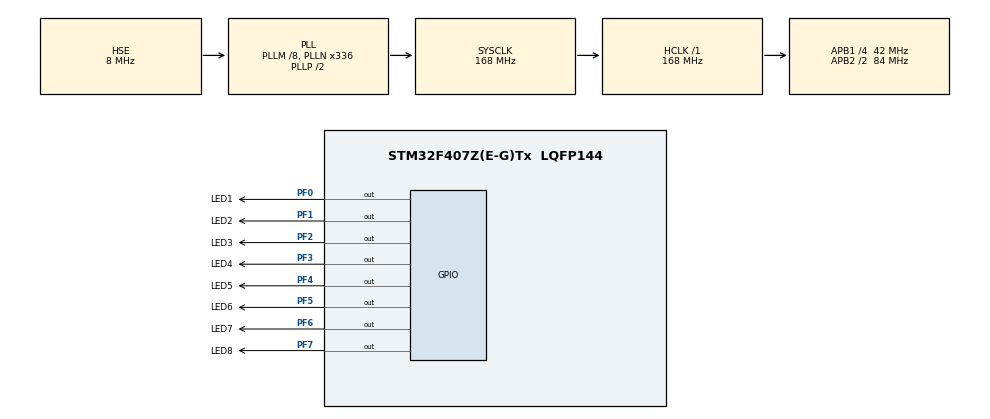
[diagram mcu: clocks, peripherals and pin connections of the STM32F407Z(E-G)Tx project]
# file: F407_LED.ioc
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Mcu.Family=STM32F4
Mcu.Name=STM32F407Z(E-G)Tx
Mcu.Package=LQFP144
NVIC.PriorityGroup=NVIC_PRIORITYGROUP_4
PA13.Mode=Serial_Wire
PA13.Signal=SYS_JTMS-SWDIO
PA14.Mode=Serial_Wire
PA14.Signal=SYS_JTCK-SWCLK
PF0.GPIO_Label=LED1
PF0.GPIO_ModeDefaultOutputPP=GPIO_MODE_OUTPUT_PP
PF0.GPIO_PuPd=GPIO_NOPULL
PF0.GPIO_Speed=GPIO_SPEED_FREQ_LOW
PF0.PinState=GPIO_PIN_SET
PF0.Signal=GPIO_Output
PF1.GPIO_Label=LED2
PF1.GPIO_ModeDefaultOutputPP=GPIO_MODE_OUTPUT_PP
PF1.GPIO_PuPd=GPIO_NOPULL
PF1.GPIO_Speed=GPIO_SPEED_FREQ_LOW
PF1.PinState=GPIO_PIN_SET
PF1.Signal=GPIO_Output
PF2.GPIO_Label=LED3
PF2.GPIO_ModeDefaultOutputPP=GPIO_MODE_OUTPUT_PP
PF2.GPIO_PuPd=GPIO_NOPULL
PF2.GPIO_Speed=GPIO_SPEED_FREQ_LOW
PF2.PinState=GPIO_PIN_SET
PF2.Signal=GPIO_Output
PF3.GPIO_Label=LED4
PF3.GPIO_ModeDefaultOutputPP=GPIO_MODE_OUTPUT_PP
PF3.GPIO_PuPd=GPIO_NOPULL
PF3.GPIO_Speed=GPIO_SPEED_FREQ_LOW
PF3.PinState=GPIO_PIN_SET
PF3.Signal=GPIO_Output
PF4.GPIO_Label=LED5
PF4.GPIO_ModeDefaultOutputPP=GPIO_MODE_OUTPUT_PP
PF4.GPIO_PuPd=GPIO_NOPULL
PF4.GPIO_Speed=GPIO_SPEED_FREQ_LOW
PF4.PinState=GPIO_PIN_SET
PF4.Signal=GPIO_Output
PF5.GPIO_Label=LED6
PF5.GPIO_ModeDefaultOutputPP=GPIO_MODE_OUTPUT_PP
PF5.GPIO_PuPd=GPIO_NOPULL
PF5.GPIO_Speed=GPIO_SPEED_FREQ_LOW
PF5.PinState=GPIO_PIN_SET
PF5.Signal=GPIO_Output
PF6.GPIO_Label=LED7
PF6.GPIO_ModeDefaultOutputPP=GPIO_MODE_OUTPUT_PP
PF6.GPIO_PuPd=GPIO_NOPULL
PF6.GPIO_Speed=GPIO_SPEED_FREQ_LOW
PF6.PinState=GPIO_PIN_SET
PF6.Signal=GPIO_Output
PF7.GPIO_Label=LED8
PF7.GPIO_ModeDefaultOutputPP=GPIO_MODE_OUTPUT_PP
PF7.GPIO_PuPd=GPIO_NOPULL
PF7.GPIO_Speed=GPIO_SPEED_FREQ_LOW
PF7.PinState=GPIO_PIN_SET
PF7.Signal=GPIO_Output
PH0-OSC_IN.Mode=HSE-External-Oscillator
PH0-OSC_IN.Signal=RCC_OSC_IN
PH1-OSC_OUT.Mode=HSE-External-Oscillator
PH1-OSC_OUT.Signal=RCC_OSC_OUT
ProjectManager.HeapSize=0x200
ProjectManager.StackSize=0x400
ProjectManager.TargetToolchain=STM32CubeIDE
RCC.48MHZClocksFreq_Value=84000000
RCC.AHBFreq_Value=168000000
RCC.APB1CLKDivider=RCC_HCLK_DIV4
RCC.APB1Freq_Value=42000000
RCC.APB1TimFreq_Value=84000000
RCC.APB2CLKDivider=RCC_HCLK_DIV2
RCC.APB2Freq_Value=84000000
RCC.APB2TimFreq_Value=168000000
RCC.CortexFreq_Value=168000000
RCC.HCLKFreq_Value=168000000
RCC.HSE_VALUE=8000000
RCC.HSI_VALUE=16000000
RCC.LSE_VALUE=32768
RCC.PLLM=8
RCC.PLLN=336
RCC.PLLSourceVirtual=RCC_PLLSOURCE_HSE
RCC.SYSCLKFreq_VALUE=168000000
RCC.SYSCLKSource=RCC_SYSCLKSOURCE_PLLCLK
RCC.VCOOutputFreq_Value=336000000
board=custom

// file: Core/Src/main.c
/* USER CODE BEGIN Header */
/**
  ******************************************************************************
  * @file           : main.c
  * @brief          : Main program body
  ******************************************************************************
  * @attention
  *
  * Copyright (c) 2026 STMicroelectronics.
  * All rights reserved.
  *
  * This software is licensed under terms that can be found in the LICENSE file
  * in the root directory of this software component.
  * If no LICENSE file comes with this software, it is provided AS-IS.
  *
  ******************************************************************************
  */
/* USER CODE END Header */
#include "main.h"
#include "gpio.h"

/* USER CODE BEGIN PV */
uint16_t i;
uint16_t KeyVal = 0;
uint8_t  PreLine[3] = {2, 0, 1};   /* 扫描顺序 i=0,1,2 对应物理行号 2,0,1 */
/* USER CODE END PV */

void SystemClock_Config(void);

/* USER CODE BEGIN 0 */
/**
  * @brief  粗略软件延时
  * @param  i: 循环次数；主频 168MHz 时 24000000 约等于 1 秒
  */
void delay(uint32_t i)
{
  while (i--)
  {
  }
}
/* USER CODE END 0 */

int main(void)
{

  /* MCU Configuration--------------------------------------------------------*/

  /* Reset of all peripherals, Initializes the Flash interface and the Systick. */
  HAL_Init();

  /* Configure the system clock */
  SystemClock_Config();

  /* Initialize all configured peripherals */
  MX_GPIO_Init();

  /* Infinite loop */
  /* USER CODE BEGIN WHILE */
  while (1)
  {
    /* 3x4 矩阵键盘逐行扫描：行线 PE4/PE5/PE6（输出），列线 PE0~PE3（上拉输入） */
    for (i = 0; i < 3; i++)
    {
      if ((GPIOE->IDR & 0x0F) != 0x0F)
      {
        HAL_Delay(16);                                    /* 软件消抖 16ms */
        if ((GPIOE->IDR & 0x0F) != 0x0F)
        {
          switch (GPIOE->IDR & 0x0F)
          {
            case 0x0E: KeyVal = 4 * PreLine[i] + 1; break;   /* 第1列 */
            case 0x0D: KeyVal = 4 * PreLine[i] + 2; break;   /* 第2列 */
            case 0x0B: KeyVal = 4 * PreLine[i] + 3; break;   /* 第3列 */
            case 0x07: KeyVal = 4 * PreLine[i] + 4; break;  /* 第4列 */
            default: break;
          }
        }
      }
      GPIOE->ODR = (~(1 << (i + 4))) & 0x00FF;   /* 当前扫描行拉低，其余行保持高 */
    }
    /* 键值按 8421 BCD 输出：高4位=十位、低4位=个位；本板 LED 低电平点亮，故取反后输出 */
    GPIOF->ODR = (~(((KeyVal / 10) << 4) + (KeyVal % 10))) & 0x00FF;
    /* USER CODE END WHILE */

  }
}

void SystemClock_Config(void)
{
  RCC_OscInitTypeDef RCC_OscInitStruct = {0};
  RCC_ClkInitTypeDef RCC_ClkInitStruct = {0};

  /** Configure the main internal regulator output voltage
  */
  __HAL_RCC_PWR_CLK_ENABLE();
  __HAL_PWR_VOLTAGESCALING_CONFIG(PWR_REGULATOR_VOLTAGE_SCALE1);

  /** Initializes the RCC Oscillators according to the specified parameters
  * in the RCC_OscInitTypeDef structure.
  */
  RCC_OscInitStruct.OscillatorType = RCC_OSCILLATORTYPE_HSE;
  RCC_OscInitStruct.HSEState = RCC_HSE_ON;
  RCC_OscInitStruct.PLL.PLLState = RCC_PLL_ON;
  RCC_OscInitStruct.PLL.PLLSource = RCC_PLLSOURCE_HSE;
  RCC_OscInitStruct.PLL.PLLM = 8;
  RCC_OscInitStruct.PLL.PLLN = 336;
  RCC_OscInitStruct.PLL.PLLP = RCC_PLLP_DIV2;
  RCC_OscInitStruct.PLL.PLLQ = 4;
  if (HAL_RCC_OscConfig(&RCC_OscInitStruct) != HAL_OK)
  {
    Error_Handler();
  }

  /** Initializes the CPU, AHB and APB buses clocks
  */
  RCC_ClkInitStruct.ClockType = RCC_CLOCKTYPE_HCLK|RCC_CLOCKTYPE_SYSCLK
                              |RCC_CLOCKTYPE_PCLK1|RCC_CLOCKTYPE_PCLK2;
  RCC_ClkInitStruct.SYSCLKSource = RCC_SYSCLKSOURCE_PLLCLK;
  RCC_ClkInitStruct.AHBCLKDivider = RCC_SYSCLK_DIV1;
  RCC_ClkInitStruct.APB1CLKDivider = RCC_HCLK_DIV4;
  RCC_ClkInitStruct.APB2CLKDivider = RCC_HCLK_DIV2;

  if (HAL_RCC_ClockConfig(&RCC_ClkInitStruct, FLASH_LATENCY_5) != HAL_OK)
  {
    Error_Handler();
  }
}

void Error_Handler(void)
{
  __disable_irq();
  while (1)
  {
  }
}
